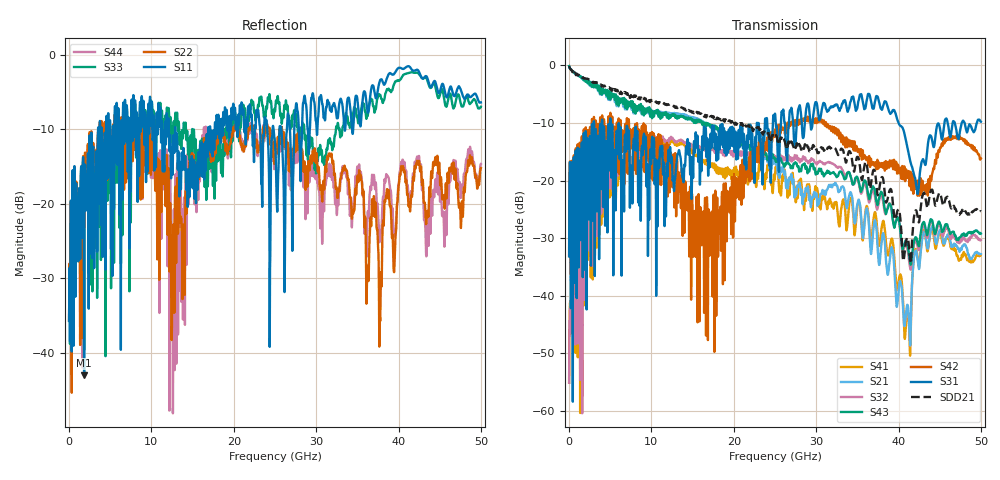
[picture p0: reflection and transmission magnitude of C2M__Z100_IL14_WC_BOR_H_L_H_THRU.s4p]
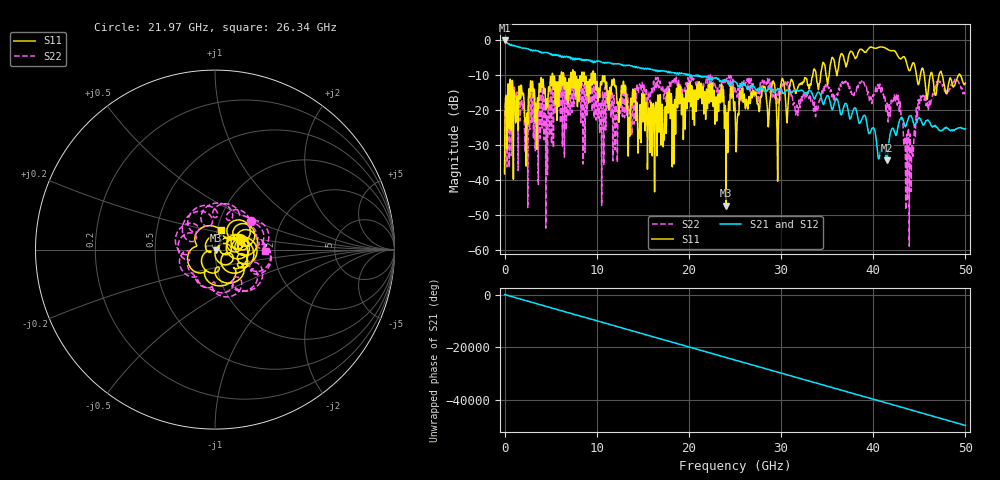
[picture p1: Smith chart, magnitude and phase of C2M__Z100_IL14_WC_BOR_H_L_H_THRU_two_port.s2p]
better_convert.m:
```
S = sparameters('C2M__Z100_IL14_WC_BOR_H_L_H_THRU.s4p');

[s_dd, s_dc, s_cd, s_cc] = s2smm(S.Parameters);

freq = S.Frequencies;

Sdiff = sparameters(s_dd, freq, 50);

rfwrite(Sdiff, 'C2M__Z100_IL14_WC_BOR_H_L_H_THRU_two_port.s2p');
```
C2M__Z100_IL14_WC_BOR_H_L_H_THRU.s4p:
# GHz S MA R 50
! S-Parameters data
! Freq  magS11  angS11  magS12  angS12  magS13  angS13  magS14  angS14
!  magS21  angS21  magS22  angS22  magS23  angS23  magS24  angS24
!  magS31  angS31  magS32  angS32  magS33  angS33  magS34  angS34
!  magS41  angS41  magS42  angS42  magS43  angS43  magS44  angS44
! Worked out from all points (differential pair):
!   5000 points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, 10 MHz to 50 GHz, reference 50 ohm
!   strongest paths, dB at 10 MHz, 12.51 GHz, 25.01 GHz, 37.51 GHz, 50 GHz:
!     S31: -33.1, -17.1, -8.4, -5.6, -9.8
!     S42: -33.1, -16.5, -11.6, -17.6, -16.1
!     S43: -0.1, -8.7, -16.3, -23.9, -29.2
!     S32: -55.1, -12.6, -16.1, -24.4, -30.3
!     S21: -0.1, -8.4, -16.6, -32.7, -32.8
!     S41: -55.1, -12.9, -19.0, -30.3, -32.9
!   taken as a pair (ports 3,1 in; 4,2 out), SDD21 dB: -0.1, -6.9, -11.8, -22.5, -25.4
!   lowest |S11| = -43.0 dB at 1.83 GHz (marker M1), VSWR 1.01, Z = 50.4 - j0.585 ohm
!   |S11| at or under -10 dB: start of sweep to 3.523 GHz; 12.12 GHz to 12.86 GHz (734.9 MHz wide, 5.88 % of centre); 12.91 GHz to 16.89 GHz (3.985 GHz wide, 26.7 % of centre)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
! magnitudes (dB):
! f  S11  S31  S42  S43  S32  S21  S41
! 10 MHz  -35.7  -33.1  -33.1  -0.1  -55.1  -0.1  -55.1
! 1.83 GHz  -43.0  -12.9  -12.1  -2.4  -37.3  -2.4  -37.7
! 50 GHz  -6.4  -9.8  -16.1  -29.2  -30.3  -32.8  -32.9
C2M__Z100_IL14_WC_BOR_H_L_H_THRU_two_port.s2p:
# GHz S RI R 50
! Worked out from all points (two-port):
!   5000 points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, 10 MHz to 50 GHz, reference 50 ohm
!   highest |S21| = -0.11 dB at 10 MHz (marker M1); lowest = -34.3 dB at 41.47 GHz (marker M2)
!   |S21| within 3 dB of the highest: start of sweep to 3.57 GHz; 3.621 GHz to 3.661 GHz (39.74 MHz wide, 1.09 % of centre)
!   lowest |S11| = -47.3 dB at 24.04 GHz (marker M3), VSWR 1.01, Z = 50.3 - j0.306 ohm
!   |S11| at or under -10 dB: start of sweep to 5.169 GHz; 9.854 GHz to 33.44 GHz (23.59 GHz wide, 109 % of centre); 47.48 GHz to 49.27 GHz (1.793 GHz wide, 3.71 % of centre)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
!   |S22| runs from -58.9 to -9.8 dB; largest |S21 - S12| = 1.2e-06
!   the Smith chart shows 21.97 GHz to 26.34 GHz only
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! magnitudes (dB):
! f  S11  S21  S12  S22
! 10 MHz  -38.3  -0.1  -0.1  -38.0
! 620 MHz  -11.2  -1.5  -1.5  -11.3
! 4.67 GHz  -19.3  -3.6  -3.6  -36.6
! 7.41 GHz  -8.5  -5.7  -5.7  -9.8
! 12.19 GHz  -17.1  -6.8  -6.8  -23.5
! 24.04 GHz  -47.3  -11.4  -11.4  -11.6
! 25.01 GHz  -19.2  -11.8  -11.8  -13.6
! 41.47 GHz  -2.5  -34.3  -34.3  -18.0
! 44.13 GHz  -7.6  -21.7  -21.7  -37.6
! 45.27 GHz  -8.2  -23.6  -23.6  -16.1
! 50 GHz  -12.3  -25.4  -25.4  -15.4
